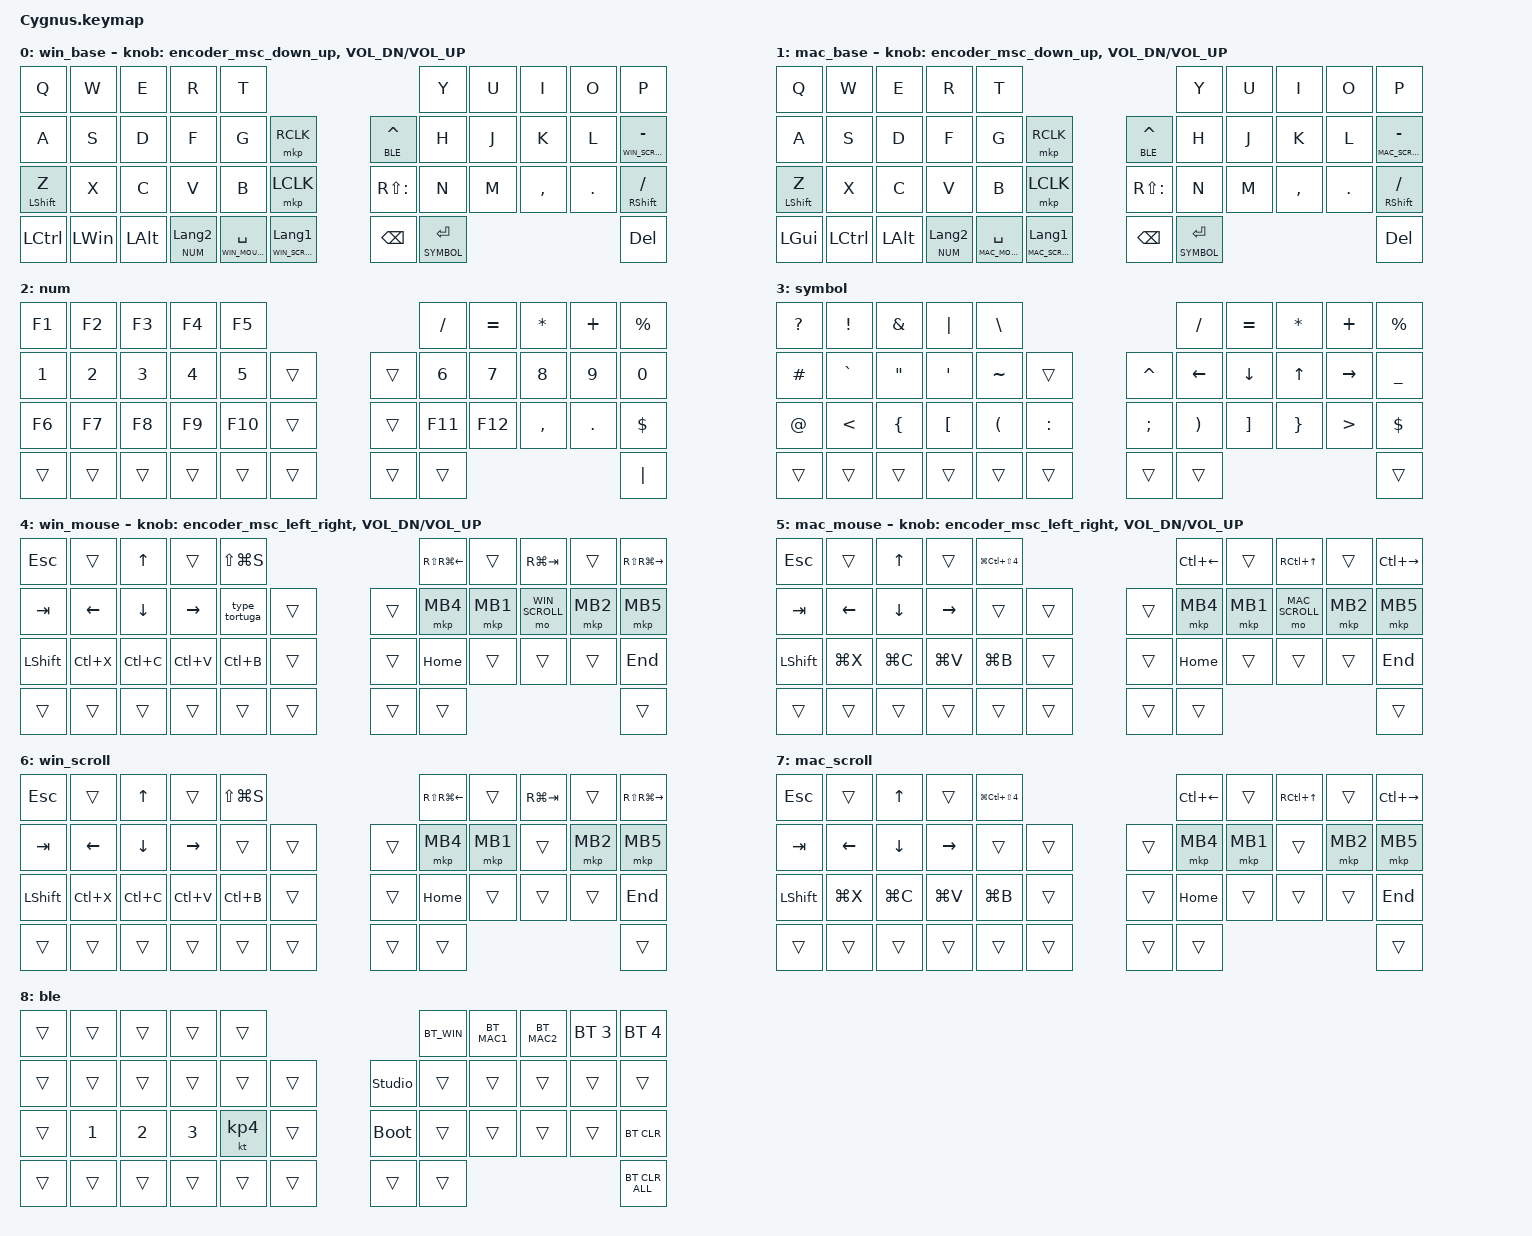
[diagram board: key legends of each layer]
#define ZMK_POINTING_DEFAULT_SCRL_VAL 80     // エンコーダのみ一段遅く（tap-ms 16 は維持）

#include <behaviors.dtsi>
#include <dt-bindings/zmk/bt.h>
#include <dt-bindings/zmk/keys.h>
#include <dt-bindings/zmk/pointing.h>

// Layer indices (definition order)

#define WIN_BASE    0
#define MAC_BASE    1
#define NUM         2
#define SYMBOL      3
#define WIN_MOUSE   4
#define MAC_MOUSE   5
#define WIN_SCROLL  6
#define MAC_SCROLL  7
#define BLE         8

&mt {
    flavor = "balanced";
    quick-tap-ms = <0>;
};

&msc {
    delay-ms = <0>;
    time-to-max-speed-ms = <0>;
    acceleration-exponent = <0>;
};

/ {
    combos {
        compatible = "zmk,combos";

        double_quotation {
            bindings = <&kp DOUBLE_QUOTES>;
            key-positions = <20 21>;
        };
    };

    macros {
        to_layer_0: to_layer_0 {
            compatible = "zmk,behavior-macro-one-param";
            #binding-cells = <1>;
            bindings = <&to 0 &macro_param_1to1 &kp MACRO_PLACEHOLDER>;
            label = "TO_LAYER_0";
        };

        // BT_SEL 0 = Windows → win_base

        BT_WIN: BT_WIN {
            compatible = "zmk,behavior-macro";
            #binding-cells = <0>;
            bindings =
                <&tog_off WIN_BASE &tog_off MAC_BASE>,
                <&macro_wait_time 200>,
                <&bt BT_SEL 0>,
                <&macro_wait_time 500>,
                <&tog_on WIN_BASE>;

            label = "BT_WIN";
        };

        // BT_SEL 1 = Mac → mac_base

        BT_MAC1: BT_MAC1 {
            compatible = "zmk,behavior-macro";
            #binding-cells = <0>;
            bindings =
                <&tog_off WIN_BASE &tog_off MAC_BASE>,
                <&macro_wait_time 200>,
                <&bt BT_SEL 1>,
                <&macro_wait_time 500>,
                <&tog_on MAC_BASE>;

            label = "BT_MAC1";
        };

        // BT_SEL 2 = Mac → mac_base（同じ Mac レイヤー）

        BT_MAC2: BT_MAC2 {
            compatible = "zmk,behavior-macro";
            #binding-cells = <0>;
            bindings =
                <&tog_off WIN_BASE &tog_off MAC_BASE>,
                <&macro_wait_time 200>,
                <&bt BT_SEL 2>,
                <&macro_wait_time 500>,
                <&tog_on MAC_BASE>;

            label = "BT_MAC2";
        };

        type_tortuga: type_tortuga {
            compatible = "zmk,behavior-macro";
            #binding-cells = <0>;
            wait-ms = <10>;
            tap-ms = <10>;
            bindings =
                <&kp LS(T) &kp O &kp R &kp T &kp U &kp G &kp A
                 &kp NUMBER_4 &kp NUMBER_4 &kp NUMBER_1 &kp NUMBER_6
                 &kp K &kp A &kp M &kp E>;
            label = "TYPE_TORTUGA";
        };
    };

    behaviors {
        lt_to_layer_0: lt_to_layer_0 {
            compatible = "zmk,behavior-hold-tap";
            label = "LAYER_TAP_TO_0";
            bindings = <&mo>, <&to_layer_0>;

            #binding-cells = <2>;
            tapping-term-ms = <200>;
        };

        // Isolation: mozumasu roBa encoder defaults (not Cygnus ROTATE)
        encoder_msc_down_up: encoder_msc_down_up {
            compatible = "zmk,behavior-sensor-rotate";
            label = "ENCODER_MSC_DOWN_UP";
            #sensor-binding-cells = <0>;
            bindings = <&msc SCRL_UP>, <&msc SCRL_DOWN>;

            tap-ms = <16>;
        };

        encoder_msc_left_right: encoder_msc_left_right {
            compatible = "zmk,behavior-sensor-rotate";
            label = "ENCODER_MSC_LEFT_RIGHT";
            #sensor-binding-cells = <0>;
            bindings = <&msc SCRL_LEFT>, <&msc SCRL_RIGHT>;

            tap-ms = <16>;
        };

        tog_on: toggle_layer_on_only {
            compatible = "zmk,behavior-toggle-layer";
            #binding-cells = <1>;
            display-name = "Toggle Layer On";
            toggle-mode = "on";
        };

        tog_off: toggle_layer_off_only {
            compatible = "zmk,behavior-toggle-layer";
            #binding-cells = <1>;
            display-name = "Toggle Layer Off";
            toggle-mode = "off";
        };
    };

    keymap {
        compatible = "zmk,keymap";

        // 0: Windows base

        win_base {
            bindings = <
&kp Q             &kp W         &kp E         &kp R               &kp T                                                              &kp Y             &kp U  &kp I      &kp O    &kp P
&kp A             &kp S         &kp D         &kp F               &kp G                &mkp RCLK                      &lt BLE CARET  &kp H             &kp J  &kp K      &kp L    &lt WIN_SCROLL MINUS
&mt LEFT_SHIFT Z  &kp X         &kp C         &kp V               &kp B                &mkp LCLK                      &kp RS(COLON)  &kp N             &kp M  &kp COMMA  &kp DOT  &mt RIGHT_SHIFT SLASH
&kp LCTRL         &kp LEFT_WIN  &kp LEFT_ALT  &lt NUM LANGUAGE_2  &lt WIN_MOUSE SPACE  &lt WIN_SCROLL LANGUAGE_1      &kp BACKSPACE  &lt SYMBOL ENTER                             &kp DEL
            >;

            sensor-bindings =
                <&encoder_msc_down_up>,
                <&inc_dec_kp C_VOL_DN C_VOL_UP>;
        };

        // 1: Mac base（修飾・右下 Shift は Win と共通。Space/Scroll の飛び先だけ Mac）

        mac_base {
            bindings = <
&kp Q             &kp W             &kp E         &kp R               &kp T                                                              &kp Y             &kp U  &kp I      &kp O    &kp P
&kp A             &kp S             &kp D         &kp F               &kp G                &mkp RCLK                      &lt BLE CARET  &kp H             &kp J  &kp K      &kp L    &lt MAC_SCROLL MINUS
&mt LEFT_SHIFT Z  &kp X             &kp C         &kp V               &kp B                &mkp LCLK                      &kp RS(COLON)  &kp N             &kp M  &kp COMMA  &kp DOT  &mt RIGHT_SHIFT SLASH
&kp LEFT_GUI      &kp LEFT_CONTROL  &kp LEFT_ALT  &lt NUM LANGUAGE_2  &lt MAC_MOUSE SPACE  &lt MAC_SCROLL LANGUAGE_1      &kp BACKSPACE  &lt SYMBOL ENTER                             &kp DEL
            >;

            sensor-bindings =
                <&encoder_msc_down_up>,
                <&inc_dec_kp C_VOL_DN C_VOL_UP>;
        };

        // 2: NUM（OS 共用）

        num {
            bindings = <
&kp F1        &kp F2        &kp F3        &kp F4        &kp F5                            &kp SLASH     &kp EQUAL     &kp ASTERISK  &kp PLUS      &kp PERCENT
&kp NUMBER_1  &kp NUMBER_2  &kp NUMBER_3  &kp NUMBER_4  &kp NUMBER_5  &trans      &trans  &kp NUMBER_6  &kp NUMBER_7  &kp NUMBER_8  &kp NUMBER_9  &kp NUMBER_0
&kp F6        &kp F7        &kp F8        &kp F9        &kp F10       &trans      &trans  &kp F11       &kp F12       &kp COMMA     &kp DOT       &kp DOLLAR
&trans        &trans        &trans        &trans        &trans        &trans      &trans  &trans                                                  &kp PIPE
            >;
        };

        // 3: SYMBOL（OS 共用）

        symbol {
            bindings = <
&kp QUESTION  &kp EXCLAMATION  &kp AMPERSAND      &kp PIPE          &kp BACKSLASH                                   &kp SLASH              &kp EQUAL          &kp ASTERISK     &kp PLUS          &kp PERCENT
&kp HASH      &kp GRAVE        &kp DOUBLE_QUOTES  &kp SINGLE_QUOTE  &kp TILDE             &trans         &kp CARET  &kp LEFT_ARROW         &kp DOWN_ARROW     &kp UP_ARROW     &kp RIGHT_ARROW   &kp UNDER
&kp AT_SIGN   &kp LESS_THAN    &kp LEFT_BRACE     &kp LEFT_BRACKET  &kp LEFT_PARENTHESIS  &kp COLON      &kp SEMI   &kp RIGHT_PARENTHESIS  &kp RIGHT_BRACKET  &kp RIGHT_BRACE  &kp GREATER_THAN  &kp DOLLAR
&trans        &trans           &trans             &trans            &trans                &trans         &trans     &trans                                                                       &trans
            >;
        };

        // 4: Windows mouse（ユーザー定義 L1）

        win_mouse {
            bindings = <
&kp ESC         &trans          &kp UP_ARROW    &trans     &kp LS(LG(S))                      &kp RS(RG(LEFT_ARROW))  &trans    &kp RG(TAB)     &trans    &kp RS(RG(RIGHT_ARROW))
&kp TAB         &kp LEFT_ARROW  &kp DOWN_ARROW  &kp RIGHT  &type_tortuga  &trans      &trans  &mkp MB4                &mkp MB1  &mo WIN_SCROLL  &mkp MB2  &mkp MB5
&kp LEFT_SHIFT  &kp LC(X)       &kp LC(C)       &kp LC(V)  &kp LC(B)      &trans      &trans  &kp HOME                &trans    &trans          &trans    &kp END
&trans          &trans          &trans          &trans     &trans         &trans      &trans  &trans                                                      &trans
            >;

            sensor-bindings =
                <&encoder_msc_left_right>,
                <&inc_dec_kp C_VOL_DN C_VOL_UP>;
        };

        // 5: Mac mouse（同じ配置。修飾を Gui/Mac 相当へ）

        mac_mouse {
            bindings = <
&kp ESC         &trans          &kp UP_ARROW    &trans     &kp LG(LC(LS(NUMBER_4)))                      &kp LC(LEFT_ARROW)  &trans    &kp RC(UP_ARROW)  &trans    &kp LC(RIGHT_ARROW)
&kp TAB         &kp LEFT_ARROW  &kp DOWN_ARROW  &kp RIGHT  &trans                    &trans      &trans  &mkp MB4            &mkp MB1  &mo MAC_SCROLL    &mkp MB2  &mkp MB5
&kp LEFT_SHIFT  &kp LG(X)       &kp LG(C)       &kp LG(V)  &kp LG(B)                 &trans      &trans  &kp HOME            &trans    &trans            &trans    &kp END
&trans          &trans          &trans          &trans     &trans                    &trans      &trans  &trans                                                    &trans
            >;

            sensor-bindings =
                <&encoder_msc_left_right>,
                <&inc_dec_kp C_VOL_DN C_VOL_UP>;
        };

        // 6: Windows scroll（キーは win_mouse と同内容。ボールだけホイール化）

        win_scroll {
            bindings = <
&kp ESC         &trans          &kp UP_ARROW    &trans     &kp LS(LG(S))                      &kp RS(RG(LEFT_ARROW))  &trans    &kp RG(TAB)  &trans    &kp RS(RG(RIGHT_ARROW))
&kp TAB         &kp LEFT_ARROW  &kp DOWN_ARROW  &kp RIGHT  &trans         &trans      &trans  &mkp MB4                &mkp MB1  &trans       &mkp MB2  &mkp MB5
&kp LEFT_SHIFT  &kp LC(X)       &kp LC(C)       &kp LC(V)  &kp LC(B)      &trans      &trans  &kp HOME                &trans    &trans       &trans    &kp END
&trans          &trans          &trans          &trans     &trans         &trans      &trans  &trans                                                   &trans
            >;
        };

        // 7: Mac scroll（キーは mac_mouse と同内容。ボールだけホイール化）

        mac_scroll {
            bindings = <
&kp ESC         &trans          &kp UP_ARROW    &trans     &kp LG(LC(LS(NUMBER_4)))                      &kp LC(LEFT_ARROW)  &trans    &kp RC(UP_ARROW)  &trans    &kp LC(RIGHT_ARROW)
&kp TAB         &kp LEFT_ARROW  &kp DOWN_ARROW  &kp RIGHT  &trans                    &trans      &trans  &mkp MB4            &mkp MB1  &trans            &mkp MB2  &mkp MB5
&kp LEFT_SHIFT  &kp LG(X)       &kp LG(C)       &kp LG(V)  &kp LG(B)                 &trans      &trans  &kp HOME            &trans    &trans            &trans    &kp END
&trans          &trans          &trans          &trans     &trans                    &trans      &trans  &trans                                                    &trans
            >;
        };

        // 8: BLE / システム（BT0=Win, BT1/BT2=Mac）

        ble {
            bindings = <
&trans  &trans        &trans        &trans        &trans                                 &BT_WIN  &BT_MAC1  &BT_MAC2  &bt BT_SEL 3  &bt BT_SEL 4
&trans  &trans        &trans        &trans        &trans     &trans      &studio_unlock  &trans   &trans    &trans    &trans        &trans
&trans  &kp NUMBER_1  &kp NUMBER_2  &kp NUMBER_3  &kt KP_N4  &trans      &bootloader     &trans   &trans    &trans    &trans        &bt BT_CLR
&trans  &trans        &trans        &trans        &trans     &trans      &trans          &trans                                     &bt BT_CLR_ALL
            >;
        };
    };
};
